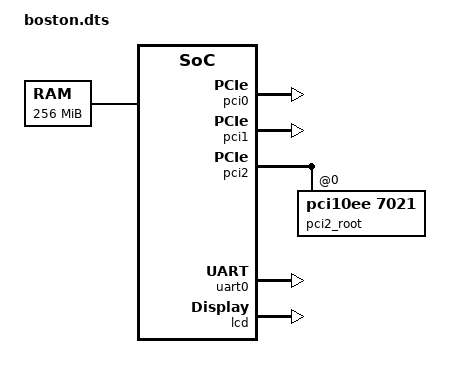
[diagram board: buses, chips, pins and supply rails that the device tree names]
// SPDX-License-Identifier: GPL-2.0
/dts-v1/;

#include <dt-bindings/clock/boston-clock.h>
#include <dt-bindings/gpio/gpio.h>
#include <dt-bindings/interrupt-controller/irq.h>
#include <dt-bindings/interrupt-controller/mips-gic.h>

/ {
	#address-cells = <1>;
	#size-cells = <1>;
	compatible = "img,boston";

	chosen {
		stdout-path = "uart0:115200";
	};

	aliases {
		uart0 = &uart0;
	};

	cpus {
		#address-cells = <1>;
		#size-cells = <0>;

		cpu@0 {
			device_type = "cpu";
			compatible = "img,mips";
			reg = <0>;
			clocks = <&clk_boston BOSTON_CLK_CPU>;
		};
	};

	memory@0 {
		device_type = "memory";
		reg = <0x00000000 0x10000000>;
	};

	pci0: pci@10000000 {
		compatible = "xlnx,axi-pcie-host-1.00.a";
		device_type = "pci";
		reg = <0x10000000 0x2000000>;

		#address-cells = <3>;
		#size-cells = <2>;
		#interrupt-cells = <1>;

		interrupt-parent = <&gic>;
		interrupts = <GIC_SHARED 2 IRQ_TYPE_LEVEL_HIGH>;

		ranges = <0x02000000 0 0x40000000
			  0x40000000 0 0x40000000>;

		interrupt-map-mask = <0 0 0 7>;
		interrupt-map = <0 0 0 1 &pci0_intc 1>,
				<0 0 0 2 &pci0_intc 2>,
				<0 0 0 3 &pci0_intc 3>,
				<0 0 0 4 &pci0_intc 4>;

		pci0_intc: interrupt-controller {
			interrupt-controller;
			#address-cells = <0>;
			#interrupt-cells = <1>;
		};
	};

	pci1: pci@12000000 {
		compatible = "xlnx,axi-pcie-host-1.00.a";
		device_type = "pci";
		reg = <0x12000000 0x2000000>;

		#address-cells = <3>;
		#size-cells = <2>;
		#interrupt-cells = <1>;

		interrupt-parent = <&gic>;
		interrupts = <GIC_SHARED 1 IRQ_TYPE_LEVEL_HIGH>;

		ranges = <0x02000000 0 0x20000000
			  0x20000000 0 0x20000000>;

		interrupt-map-mask = <0 0 0 7>;
		interrupt-map = <0 0 0 1 &pci1_intc 1>,
				<0 0 0 2 &pci1_intc 2>,
				<0 0 0 3 &pci1_intc 3>,
				<0 0 0 4 &pci1_intc 4>;

		pci1_intc: interrupt-controller {
			interrupt-controller;
			#address-cells = <0>;
			#interrupt-cells = <1>;
		};
	};

	pci2: pci@14000000 {
		compatible = "xlnx,axi-pcie-host-1.00.a";
		device_type = "pci";
		reg = <0x14000000 0x2000000>;

		#address-cells = <3>;
		#size-cells = <2>;
		#interrupt-cells = <1>;

		interrupt-parent = <&gic>;
		interrupts = <GIC_SHARED 0 IRQ_TYPE_LEVEL_HIGH>;

		ranges = <0x02000000 0 0x16000000
			  0x16000000 0 0x100000>;

		interrupt-map-mask = <0 0 0 7>;
		interrupt-map = <0 0 0 1 &pci2_intc 1>,
				<0 0 0 2 &pci2_intc 2>,
				<0 0 0 3 &pci2_intc 3>,
				<0 0 0 4 &pci2_intc 4>;

		pci2_intc: interrupt-controller {
			interrupt-controller;
			#address-cells = <0>;
			#interrupt-cells = <1>;
		};

		pci2_root@0,0,0 {
			compatible = "pci10ee,7021";
			reg = <0x00000000 0 0 0 0>;

			#address-cells = <3>;
			#size-cells = <2>;
			#interrupt-cells = <1>;

			eg20t_bridge@1,0,0 {
				compatible = "pci8086,8800";
				reg = <0x00010000 0 0 0 0>;

				#address-cells = <3>;
				#size-cells = <2>;
				#interrupt-cells = <1>;

				eg20t_mac@2,0,1 {
					compatible = "pci8086,8802";
					reg = <0x00020100 0 0 0 0>;
					phy-reset-gpios = <&eg20t_gpio 6
							   GPIO_ACTIVE_LOW>;
				};

				eg20t_gpio: eg20t_gpio@2,0,2 {
					compatible = "pci8086,8803";
					reg = <0x00020200 0 0 0 0>;

					gpio-controller;
					#gpio-cells = <2>;
				};

				eg20t_i2c@2,12,2 {
					compatible = "pci8086,8817";
					reg = <0x00026200 0 0 0 0>;

					#address-cells = <1>;
					#size-cells = <0>;

					rtc@68 {
						compatible = "st,m41t81s";
						reg = <0x68>;
					};
				};
			};
		};
	};

	gic: interrupt-controller@16120000 {
		compatible = "mti,gic";
		reg = <0x16120000 0x20000>;

		interrupt-controller;
		#interrupt-cells = <3>;

		timer {
			compatible = "mti,gic-timer";
			interrupts = <GIC_LOCAL 1 IRQ_TYPE_NONE>;
			clocks = <&clk_boston BOSTON_CLK_CPU>;
		};
	};

	cdmm@16140000 {
		compatible = "mti,mips-cdmm";
		reg = <0x16140000 0x8000>;
	};

	cpc@16200000 {
		compatible = "mti,mips-cpc";
		reg = <0x16200000 0x8000>;
	};

	plat_regs: system-controller@17ffd000 {
		compatible = "img,boston-platform-regs", "syscon";
		reg = <0x17ffd000 0x1000>;

		clk_boston: clock {
			compatible = "img,boston-clock";
			#clock-cells = <1>;
		};
	};

	reboot: syscon-reboot {
		compatible = "syscon-reboot";
		regmap = <&plat_regs>;
		offset = <0x10>;
		mask = <0x10>;
	};

	uart0: uart@17ffe000 {
		compatible = "ns16550a";
		reg = <0x17ffe000 0x1000>;
		reg-shift = <2>;

		interrupt-parent = <&gic>;
		interrupts = <GIC_SHARED 3 IRQ_TYPE_LEVEL_HIGH>;

		clocks = <&clk_boston BOSTON_CLK_SYS>;
	};

	lcd: lcd@17fff000 {
		compatible = "img,boston-lcd";
		reg = <0x17fff000 0x8>;
	};
};
